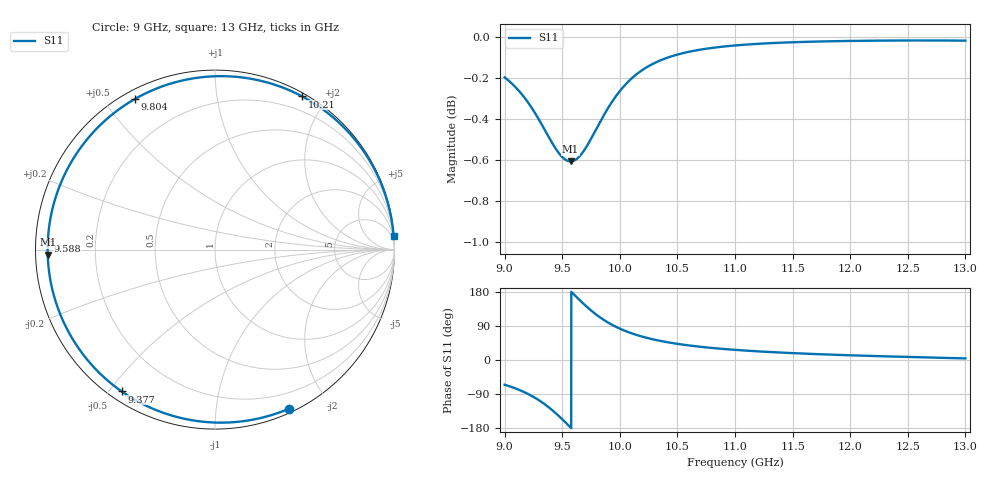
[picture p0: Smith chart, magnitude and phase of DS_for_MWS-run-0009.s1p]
! TOUCHSTONE file generated by CST DESIGN STUDIO
! Date and time: Tue Feb  4 14:13:30 2025
! Project name: C:\Work\MatlabApps\UnitCellOptimizationMatlab\CST\unitcell.cst
! Tree item: Tasks\Sweep1\SPara1\S-Parameters
! Header version: 2024
! Port assignment regex: !\s*Touchstone port\s*([0-9]+)\s*=\s*(CST MWS port|CST DES external port|CST DES block port)\s*(.+)\s* \(\"(.*)\"\)(\s*mode\s*([0-9]+))?.*
! Touchstone port assignment:
! Touchstone port 1 = CST DES external port 1 ("")
# GHz S MA R 50
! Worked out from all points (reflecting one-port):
!   4001 points, 9 GHz to 13 GHz, reference 50 ohm
!   lowest |S11| = -0.6 dB at 9.573 GHz (marker M1), VSWR 28.64, Z = 1.75 - j0.77 ohm
!   phase of S11 starts at -65 deg and turns -291 deg over the sweep
!   S11 on the Smith chart (normalised r, x): 9 GHz: 0.04, -1.56; 9.377 GHz: 0.04, -0.54; 9.588 GHz: 0.03, +0.02; 9.804 GHz: 0.03, +0.60; 10.21 GHz: 0.04, +1.72; 13 GHz: 1, +27
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9  0.9774 -65.2
9.045  0.9751 -69.6
9.112  0.9709 -77.1
9.228  0.9616 -93.6
9.307  0.9536 -108.0
9.377  0.946 -123.4
9.437  0.9398 -138.6
9.5  0.9348 -156.3
9.537  0.9331 -167.3
9.573  0.9325 -178.2
9.588  0.9326 177.2
9.643  0.9347 160.5
9.704  0.9396 143.0
9.754  0.9448 129.8
9.804  0.9505 117.9
9.847  0.9554 108.6
9.893  0.9603 99.8
10  0.9699 82.8
10.101  0.9767 70.6
10.211  0.9821 60.3
10.344  0.9865 50.9
10.5  0.99 42.6
10.72  0.9929 34.2
11  0.995 26.8
11.5  0.9968 18.1
12  0.9976 12.4
12.5  0.9978 8.0
13  0.9977 4.2
